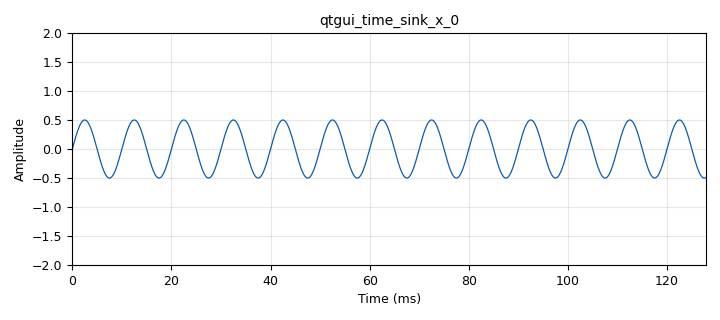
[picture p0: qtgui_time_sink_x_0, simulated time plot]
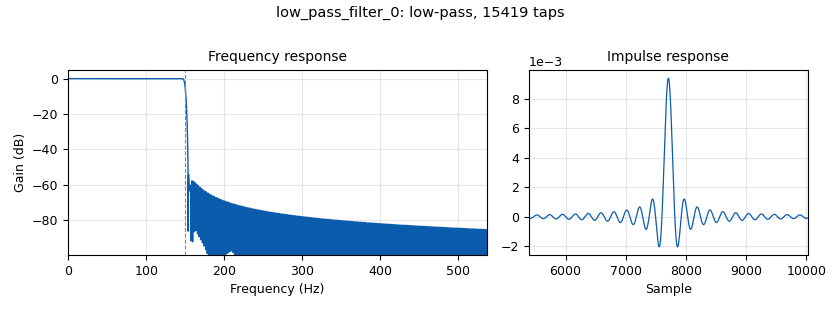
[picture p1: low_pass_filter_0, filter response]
options:
  parameters:
    generate_options: qt_gui
    id: sdr
    output_language: python
    title: Not titled yet
  states: {}

blocks:
- name: freq
  id: variable_qtgui_range
  parameters:
    start: '900'
    step: '1'
    stop: '1100'
    value: '1100'
  states: {}
- name: samp_rate
  id: variable
  parameters:
    value: '32000'
  states: {}
- name: analog_sig_source_x_0
  id: analog_sig_source_x
  parameters:
    amp: '1'
    freq: freq
    offset: '0'
    phase: '0'
    samp_rate: samp_rate
    type: float
    waveform: analog.GR_COS_WAVE
  states: {}
- name: analog_sig_source_x_1
  id: analog_sig_source_x
  parameters:
    amp: '1'
    freq: '1000'
    offset: '0'
    phase: '0'
    samp_rate: samp_rate
    type: float
    waveform: analog.GR_COS_WAVE
  states: {}
- name: blocks_multiply_xx_0
  id: blocks_multiply_xx
  parameters:
    type: float
  states: {}
- name: low_pass_filter_0
  id: low_pass_filter
  parameters:
    cutoff_freq: '150'
    decim: '1'
    gain: '1'
    samp_rate: samp_rate
    type: fir_filter_fff
    width: '5'
    win: window.WIN_HAMMING
  states: {}
- name: qtgui_time_sink_x_0
  id: qtgui_time_sink_x
  parameters:
    size: '4096'
    srate: samp_rate
    tr_mode: qtgui.TRIG_MODE_AUTO
    type: float
    ymax: '2'
    ymin: '-2'
  states: {}

connections:
- [analog_sig_source_x_0, '0', blocks_multiply_xx_0, '0']
- [analog_sig_source_x_1, '0', blocks_multiply_xx_0, '1']
- [blocks_multiply_xx_0, '0', low_pass_filter_0, '0']
- [low_pass_filter_0, '0', qtgui_time_sink_x_0, '0']

metadata:
  file_format: 1
  grc_version: 3.10.10.0
